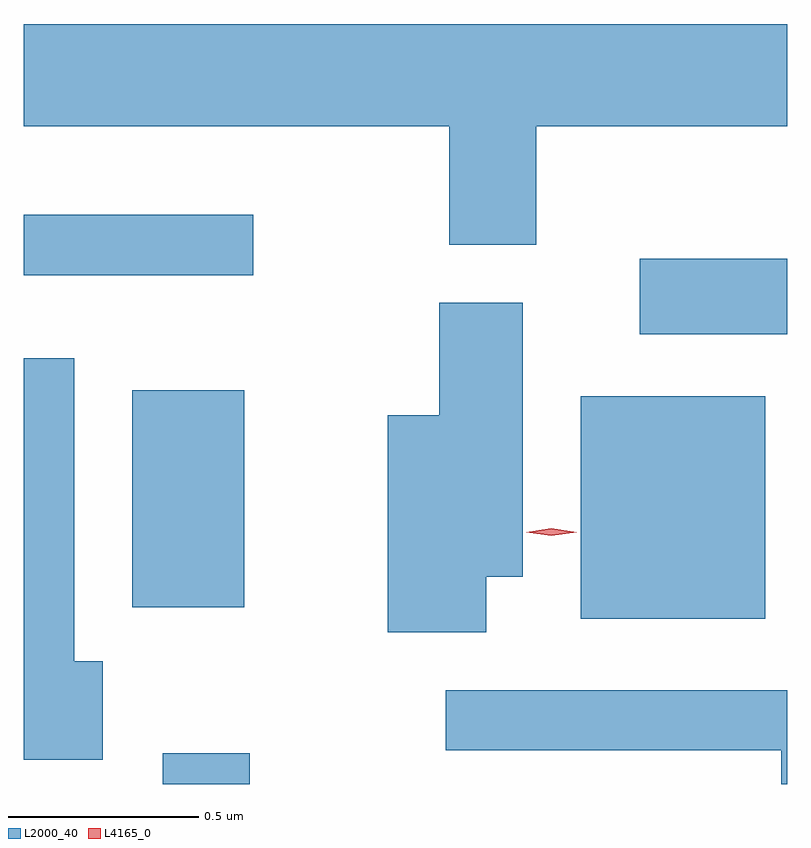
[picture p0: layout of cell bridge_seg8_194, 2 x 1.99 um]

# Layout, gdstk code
import gdstk
lib = gdstk.Library(unit=1e-6, precision=1e-09)
def R(c, l, rs):  # rectangles x0, y0, x1, y1
    for r in rs: c.add(gdstk.rectangle(r[:2], r[2:], *l))
def P(c, l, *ps):  # polygons
    for p in ps: c.add(gdstk.Polygon(p, *l))
L2000_40 = (2000, 40)
L4165_0 = (4165, 0)

bridge_seg8_194 = lib.new_cell('bridge_seg8_194')
R(bridge_seg8_194, L2000_40, [(1050.401,1934.593,1050.629,1934.674), (1051.496,1935.026,1051.979,1935.609), (1050.321,1935.056,1050.614,1935.624), (1051.651,1935.771,1052.037,1935.969), (1050.037,1935.926,1050.638,1936.084)])
P(bridge_seg8_194, L2000_40, [(1051.379,1936.316),(1052.037,1936.316),(1052.037,1936.584),(1050.037,1936.584),(1050.037,1936.316),(1051.151,1936.316),(1051.151,1936.006),(1051.379,1936.006)],
  [(1051.249,1935.136),(1051.344,1935.136),(1051.344,1935.854),(1051.126,1935.854),(1051.126,1935.559),(1050.991,1935.559),(1050.991,1934.991),(1051.249,1934.991)],
  [(1050.244,1934.914),(1050.169,1934.914),(1050.169,1935.709),(1050.037,1935.709),(1050.037,1934.656),(1050.244,1934.656)],
  [(1052.037,1934.839),(1051.143,1934.839),(1051.143,1934.681),(1052.021,1934.681),(1052.021,1934.593),(1052.037,1934.593)])
P(bridge_seg8_194, L4165_0, [(1051.419,1935.243),(1051.353,1935.252),(1051.352,1935.253),(1051.353,1935.253),(1051.419,1935.263),(1051.485,1935.253),(1051.486,1935.253),(1051.485,1935.252)])

lib.write_gds('bridge_seg8_194.gds')
